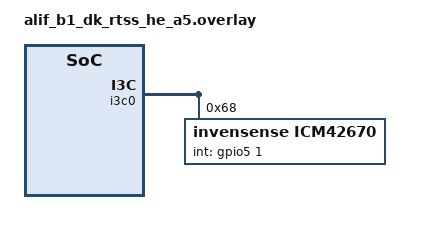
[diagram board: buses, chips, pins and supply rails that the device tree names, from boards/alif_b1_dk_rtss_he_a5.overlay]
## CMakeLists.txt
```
#
# Copyright (c) 2025 Alif Semiconductor
#
# SPDX-License-Identifier: Apache-2.0
#

cmake_minimum_required(VERSION 3.20.0)
find_package(Zephyr REQUIRED HINTS $ENV{ZEPHYR_BASE})
project(icm42670)

FILE(GLOB app_sources src/*.c)
target_sources(app PRIVATE ${app_sources})
```

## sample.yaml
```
#
# Copyright (c) 2025 Alif Semiconductor
#
# SPDX-License-Identifier: Apache-2.0
#

sample:
  name: ICM42670 Sensor Sample
tests:
  sample.sensor.icm42670:
    tags: i3c sensors
    depends_on: i3c
```

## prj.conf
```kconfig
#
# Copyright (c) 2025 Alif Semiconductor
#
# SPDX-License-Identifier: Apache-2.0
#

CONFIG_I3C=y
CONFIG_I3C_USE_IBI=n
CONFIG_SENSOR=y
CONFIG_ICM42670_TRIGGER_OWN_THREAD=y
CONFIG_CLOCK_CONTROL=y
CONFIG_LOG=y
CONFIG_LOG_BUFFER_SIZE=8192
CONFIG_FPU=y
```

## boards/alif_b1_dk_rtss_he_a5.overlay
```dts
/*
 * Copyright (c) 2025 Alif Semiconductor.
 * SPDX-License-Identifier: Apache-2.0
 */

&i3c0 {
	status = "okay";

	icm42670: icm42670@680000023500000000 {
		compatible = "invensense,icm42670";
		reg = <0x68 0x0235 0x00000000>;
		/* Dynamic Address To Be Assigned To The Device */
		assigned-address = <0x9>;
		int-gpios = <&gpio5 1 GPIO_ACTIVE_HIGH>;
		accel-hz = <800>;
		accel-fs = <16>;
		gyro-hz = <800>;
		gyro-fs = <2000>;
		status = "okay";
	};
};
```

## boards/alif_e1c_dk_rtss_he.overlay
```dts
/*
 * Copyright (c) 2025 Alif Semiconductor.
 * SPDX-License-Identifier: Apache-2.0
 */

&i3c0 {
	status = "okay";

    icm42670: icm42670@680000023500000000 {
        compatible = "invensense,icm42670";
        reg = < 0x68 0x0235 0x00000000 >;
        /* Dynamic Address To Be Assigned To The Device */
        assigned-address = <0x9>;
        int-gpios = <&gpio5 1 GPIO_ACTIVE_HIGH>;
        accel-hz = <800>;
        accel-fs = <16>;
        gyro-hz = <800>;
        gyro-fs = <2000>;
        status = "okay";
    };
};
```

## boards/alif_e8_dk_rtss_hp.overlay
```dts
/*
 * Copyright (c) 2025 Alif Semiconductor.
 * SPDX-License-Identifier: Apache-2.0
 */

&i3c0 {
	status = "okay";

    icm42670: icm42670@680000023500000000 {
        compatible = "invensense,icm42670";
        reg = < 0x68 0x0235 0x00000000 >;
        /* Dynamic Address To Be Assigned To The Device */
        assigned-address = <0x9>;
        int-gpios = <&gpio8 5 GPIO_ACTIVE_HIGH>;
        accel-hz = <800>;
        accel-fs = <16>;
        gyro-hz = <800>;
        gyro-fs = <2000>;
        status = "okay";
    };
};
```

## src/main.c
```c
/*
 * Copyright (c) 2025 Alif Semiconductor
 *
 * SPDX-License-Identifier: Apache-2.0
 */

#include <zephyr/kernel.h>
#include <zephyr/device.h>
#include <zephyr/drivers/sensor.h>
#include <stdio.h>
#include <zephyr/logging/log.h>

LOG_MODULE_DECLARE(ICM42670, LOG_LEVEL_INF);

static struct sensor_trigger data_trigger;
static volatile uint8_t sample_cnt;

static int process_icm42670(const struct device *dev)
{
	struct sensor_value temperature;
	struct sensor_value accel[3];
	struct sensor_value gyro[3];
	int rc = sensor_sample_fetch(dev);

	if (rc == 0) {
		rc = sensor_channel_get(dev, SENSOR_CHAN_ACCEL_XYZ, accel);
	}
	if (rc == 0) {
		rc = sensor_channel_get(dev, SENSOR_CHAN_GYRO_XYZ, gyro);
	}
	if (rc == 0) {
		rc = sensor_channel_get(dev, SENSOR_CHAN_DIE_TEMP, &temperature);
	}
	if (rc == 0) {

		if (sample_cnt++ / 50) {
			LOG_INF("temp % g Cel"
				"\t accel % f % f % f m/s/s"
				"\t gyro  % f % f % f rad/s",
				sensor_value_to_double(&temperature),
				sensor_value_to_double(&accel[0]),
				sensor_value_to_double(&accel[1]),
				sensor_value_to_double(&accel[2]), sensor_value_to_double(&gyro[0]),
				sensor_value_to_double(&gyro[1]), sensor_value_to_double(&gyro[2]));
			sample_cnt = 0;
		}
	} else {
		LOG_INF("sample fetch/get failed: %d", rc);
	}

	return rc;
}

static void handle_icm42670_drdy(const struct device *dev, const struct sensor_trigger *trig)
{
	int rc = process_icm42670(dev);

	if (rc != 0) {
		LOG_INF("cancelling trigger due to failure: %d", rc);
		(void)sensor_trigger_set(dev, trig, NULL);
		return;
	}
}

int main(void)
{
	const struct device *const icm42670 = DEVICE_DT_GET_ONE(invensense_icm42670);

	if (!device_is_ready(icm42670)) {
		LOG_INF("sensor: device not ready.\n");
		return 0;
	}

	data_trigger = (struct sensor_trigger){
		.type = SENSOR_TRIG_DATA_READY,
		.chan = SENSOR_CHAN_ALL,
	};

	if (sensor_trigger_set(icm42670, &data_trigger, handle_icm42670_drdy) < 0) {
		LOG_INF("Cannot configure data trigger!!!\n");
		return 0;
	}

	LOG_INF("Configured for triggered sampling.\n");
	return 0;
}
```
